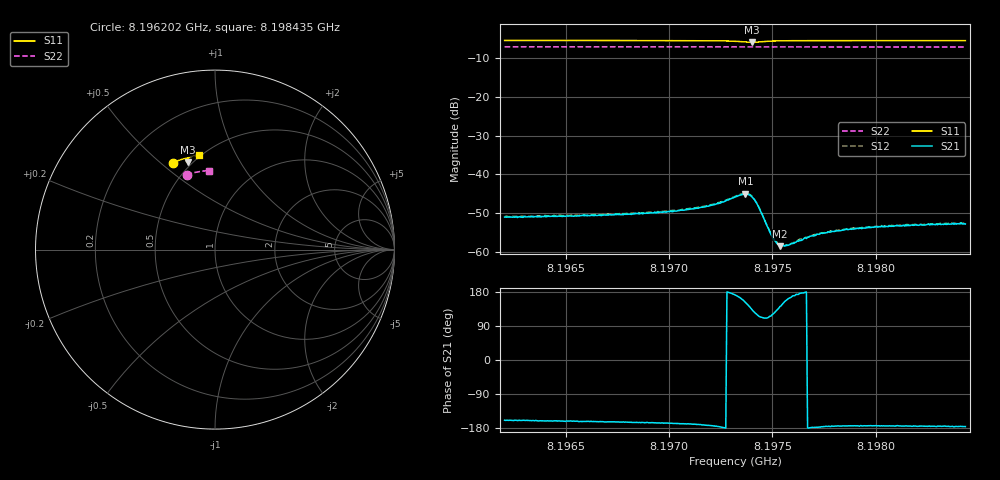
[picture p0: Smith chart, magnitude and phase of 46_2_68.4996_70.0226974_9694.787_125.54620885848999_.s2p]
#  HZ  S  RI  R  50.00
! Rohde & Schwarz Vector Network Analyzer
! Rohde-Schwarz,ZNB20-2Port,1311601062101988,3.16
! Created: UTC 3/20/2024, 4:50:38 PM
! freq[Hz]  re:S11  im:S11  re:S21  im:S21  re:S12  im:S12  re:S22  im:S22
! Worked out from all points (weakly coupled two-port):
!   401 points, 8.196202 GHz to 8.198435 GHz, reference 50 ohm
!   highest |S21| = -45.04 dB at 8.197369 GHz (marker M1); lowest = -58.6 dB at 8.197536 GHz (marker M2)
!   lowest |S11| = -5.9 dB at 8.197402 GHz (marker M3), VSWR 3.07, Z = 23.8 + j31.2 ohm
!   |S11| at or under -10 dB: nowhere
!   |S22| runs from -7.1 to -7.0 dB; largest |S21 - S12| = 0.00031
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8.1962025e9  -0.2338 0.4836  -0.00261 -0.00101  -0.0027 -0.000937  -0.1581 0.4165
8.1965763e9  -0.2088 0.4944  -0.0028 -0.000892  -0.00285 -0.000799  -0.1381 0.4228
8.1969502e9  -0.1822 0.5037  -0.00312 -0.000779  -0.0032 -0.000663  -0.1177 0.4284
8.1970451e9  -0.1747 0.5058  -0.00331 -0.000724  -0.00338 -0.000596  -0.1127 0.4297
8.197179e9  -0.1628 0.5081  -0.00381 -0.000518  -0.0039 -0.000411  -0.1053 0.4311
8.1972515e9  -0.1547 0.5079  -0.0043 -0.000235  -0.00443 -5.19e-05  -0.1012 0.4319
8.1973185e9  -0.1457 0.5037  -0.00504 0.000714  -0.0051 0.000949  -0.0973 0.4325
8.1973687e9  -0.1423 0.4931  -0.00495 0.0026  -0.00491 0.00285  -0.0947 0.4328
8.1973855e9  -0.1446 0.4888  -0.00435 0.00329  -0.0043 0.00356  -0.0938 0.4328
8.1974022e9  -0.1493 0.4862  -0.00341 0.00375  -0.00332 0.00396  -0.0931 0.4329
8.1974301e9  -0.1576 0.4883  -0.00182 0.00347  -0.00168 0.00359  -0.0919 0.4333
8.1974971e9  -0.1601 0.5022  -0.000764 0.00139  -0.000713 0.00147  -0.0881 0.4343
8.1975194e9  -0.1581 0.5053  -0.00084 0.000985  -0.000819 0.00108  -0.0869 0.4346
8.1975361e9  -0.1565 0.5072  -0.000917 0.00074  -0.000923 0.000813  -0.086 0.4348
8.197564e9  -0.1538 0.5094  -0.00109 0.000476  -0.0011 0.000536  -0.0843 0.435
8.1975863e9  -0.1516 0.511  -0.0012 0.000334  -0.0012 0.000381  -0.0831 0.4354
8.1976254e9  -0.1479 0.513  -0.00135 0.000163  -0.0014 0.000191  -0.0809 0.4355
8.1976924e9  -0.1421 0.5152  -0.00161 -6.51e-05  -0.00163 1.08e-05  -0.0773 0.4361
8.1977816e9  -0.1349 0.5178  -0.00179 -0.000131  -0.00186 -8.58e-05  -0.0721 0.437
8.1978821e9  -0.127 0.52  -0.00193 -0.000214  -0.002 -0.000113  -0.0666 0.4377
8.1980662e9  -0.1134 0.5232  -0.00214 -0.000234  -0.00217 -0.000107  -0.0562 0.4388
8.1984345e9  -0.0868 0.528  -0.00227 -0.00017  -0.00238 -4.3e-05  -0.0354 0.4403
